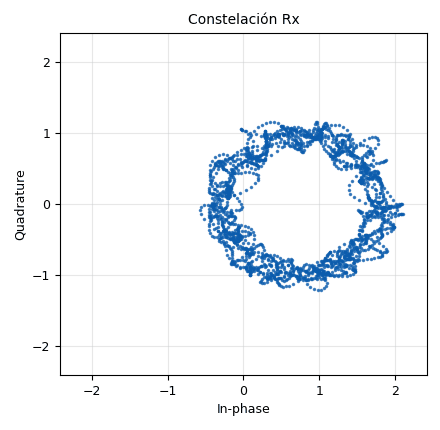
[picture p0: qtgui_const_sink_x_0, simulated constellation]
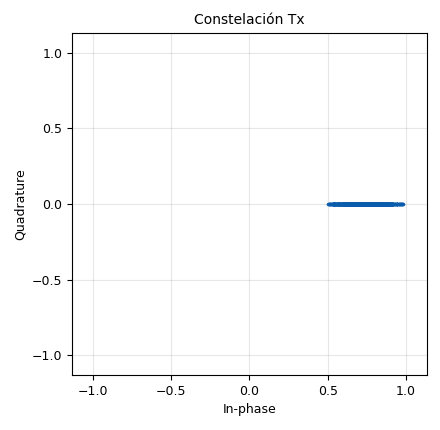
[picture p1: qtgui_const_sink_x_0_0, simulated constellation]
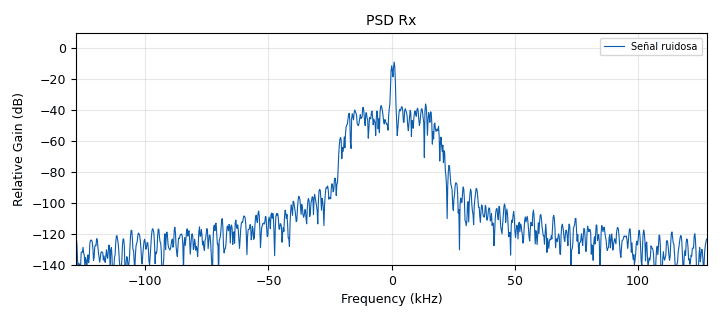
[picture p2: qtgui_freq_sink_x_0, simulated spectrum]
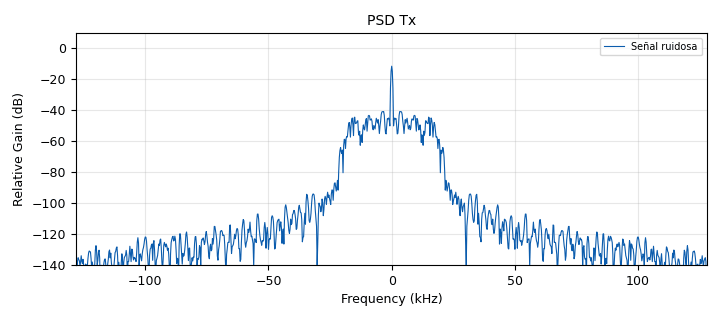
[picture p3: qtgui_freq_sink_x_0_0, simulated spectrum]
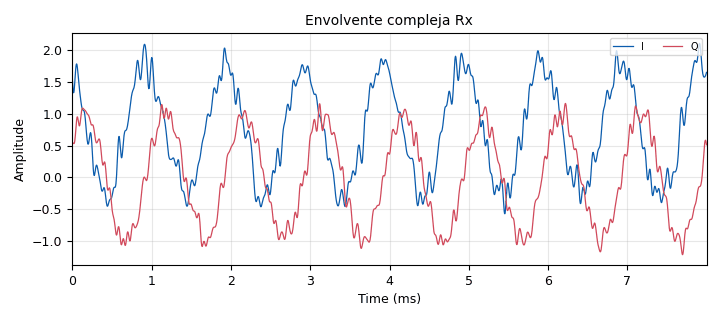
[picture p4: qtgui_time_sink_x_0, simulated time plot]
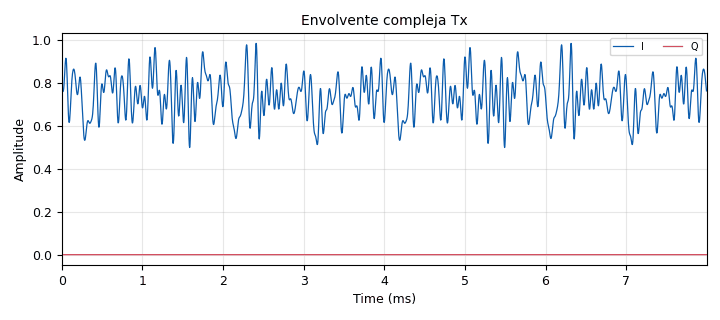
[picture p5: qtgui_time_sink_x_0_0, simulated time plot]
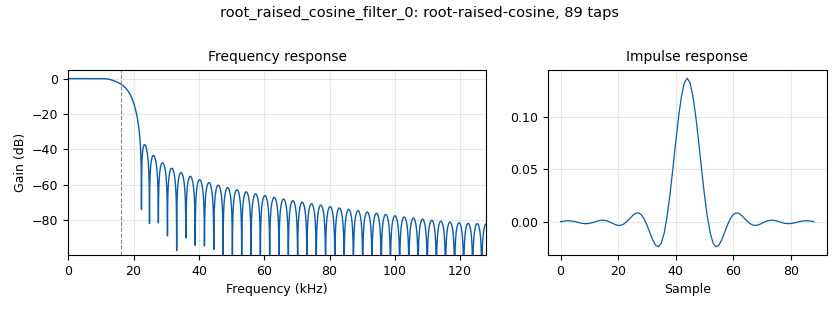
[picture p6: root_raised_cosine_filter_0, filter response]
options:
  parameters:
    comment: GRC para analizar ruido AWGN en modulaciones basadas en constelaciones
    description: GRC con AWGN para OOK ASK BPSK QPSK 8PSK y 16QAM
    generate_options: qt_gui
    id: Modulaciones_basadas_en_constelaciones_AWGN
    output_language: python
    title: Modulaciones_basadas_en_constelaciones_AWGN
  states: {}

blocks:
- name: M
  id: variable
  parameters:
    value: len(tabla_de_verdad_constelacion)
  states: {}
- name: Rb
  id: variable
  parameters:
    value: Rs*bps
  states: {}
- name: Rs
  id: variable
  parameters:
    value: '32000'
  states: {}
- name: Sps
  id: variable
  parameters:
    value: '8'
  states: {}
- name: bps
  id: variable
  parameters:
    value: int(math.log(M,2))
  states: {}
- name: h
  id: variable
  parameters:
    value: '[1]*Sps'
  states: {}
- name: noise_amp
  id: variable_qtgui_range
  parameters:
    label: Amplitud de ruido AWGN
    start: '0'
    step: '0.01'
    stop: '0.5'
    value: '0.40'
  states: {}
- name: samp_rate
  id: variable
  parameters:
    value: Rs*Sps
  states: {}
- name: tabla_de_verdad_constelacion
  id: variable
  parameters:
    comment: Cambie esta tabla para OOK ASK BPSK QPSK 8PSK o 16QAM
    value: (0.5+0j, 1.0+0j)
  states: {}
- name: analog_noise_source_x_0
  id: analog_noise_source_x
  parameters:
    amp: noise_amp
    noise_type: analog.GR_GAUSSIAN
    seed: '0'
    type: complex
  states: {}
- name: analog_random_source_x_0
  id: analog_random_source_x
  parameters:
    max: '2'
    min: '0'
    num_samps: '1000'
    repeat: 'True'
    type: byte
  states: {}
- name: analog_sig_source_x_0
  id: analog_sig_source_x
  parameters:
    amp: '1'
    freq: '1000'
    offset: '0'
    phase: '0'
    samp_rate: samp_rate
    type: complex
    waveform: analog.GR_SIN_WAVE
  states: {}
- name: blocks_add_xx_0
  id: blocks_add_xx
  parameters:
    type: complex
  states: {}
- name: blocks_add_xx_1
  id: blocks_add_xx
  parameters:
    type: complex
  states: {}
- name: blocks_complex_to_mag_0
  id: blocks_complex_to_mag
  parameters: {}
  states: {}
- name: blocks_float_to_uchar_0
  id: blocks_float_to_uchar
  parameters: {}
  states: {}
- name: blocks_pack_k_bits_bb_0
  id: blocks_pack_k_bits_bb
  parameters:
    k: '8'
  states: {}
- name: blocks_packed_to_unpacked_xx_0
  id: blocks_packed_to_unpacked_xx
  parameters:
    bits_per_chunk: bps
    endianness: gr.GR_MSB_FIRST
    type: byte
  states: {}
- name: blocks_threshold_ff_0
  id: blocks_threshold_ff
  parameters:
    high: '0.8'
    init: '0'
    low: '0.6'
  states: {}
- name: digital_chunks_to_symbols_xx_0
  id: digital_chunks_to_symbols_xx
  parameters:
    dimension: '1'
    in_type: byte
    out_type: complex
    symbol_table: tabla_de_verdad_constelacion
  states: {}
- name: fec_ber_bf_0
  id: fec_ber_bf
  parameters:
    test_mode: 'False'
  states: {}
- name: import_0
  id: import
  parameters:
    imports: import math
  states: {}
- name: qtgui_const_sink_x_0
  id: qtgui_const_sink_x
  parameters:
    autoscale: 'True'
    grid: 'True'
    label1: '"Señal ruidosa"'
    legend: 'False'
    name: '"Constelación Rx"'
    size: '2048'
    type: complex
  states: {}
- name: qtgui_const_sink_x_0_0
  id: qtgui_const_sink_x
  parameters:
    autoscale: 'True'
    grid: 'True'
    label1: '"Señal ruidosa"'
    legend: 'False'
    name: '"Constelación Tx"'
    size: '2048'
    type: complex
  states: {}
- name: qtgui_freq_sink_x_0
  id: qtgui_freq_sink_x
  parameters:
    bw: samp_rate
    fc: '0'
    fftsize: '1024'
    grid: 'True'
    label1: Señal ruidosa
    name: '"PSD Rx"'
    type: complex
  states: {}
- name: qtgui_freq_sink_x_0_0
  id: qtgui_freq_sink_x
  parameters:
    bw: samp_rate
    fc: '0'
    fftsize: '1024'
    grid: 'True'
    label1: Señal ruidosa
    name: '"PSD Tx"'
    type: complex
  states: {}
- name: qtgui_number_sink_0
  id: qtgui_number_sink
  parameters:
    autoscale: 'True'
    graph_type: qtgui.NUM_GRAPH_HORIZ
    min: '0'
    name: BER
    type: float
    update_time: '0.1'
  states: {}
- name: qtgui_time_sink_x_0
  id: qtgui_time_sink_x
  parameters:
    autoscale: 'True'
    grid: 'True'
    label1: I
    label2: Q
    name: '"Envolvente compleja Rx"'
    size: '2048'
    srate: samp_rate
    type: complex
    ymax: '2'
    ymin: '-2'
  states: {}
- name: qtgui_time_sink_x_0_0
  id: qtgui_time_sink_x
  parameters:
    autoscale: 'True'
    grid: 'True'
    label1: I
    label2: Q
    name: '"Envolvente compleja Tx"'
    size: '2048'
    srate: samp_rate
    type: complex
    ymax: '2'
    ymin: '-2'
  states: {}
- name: root_raised_cosine_filter_0
  id: root_raised_cosine_filter
  parameters:
    alpha: '0.35'
    decim: '1'
    gain: '1'
    ntaps: 11*Sps
    samp_rate: samp_rate
    sym_rate: Rs
    type: fir_filter_ccf
  states: {}
- name: root_raised_cosine_filter_0_0
  id: root_raised_cosine_filter
  parameters:
    alpha: '0.35'
    decim: '1'
    gain: '1'
    ntaps: 11*Sps
    samp_rate: samp_rate
    sym_rate: Rs
    type: fir_filter_ccf
  states: {}
- name: throttle_0
  id: blocks_throttle2
  parameters:
    samples_per_second: samp_rate
    type: complex
  states: {}

connections:
- [analog_noise_source_x_0, '0', blocks_add_xx_1, '1']
- [analog_random_source_x_0, '0', blocks_pack_k_bits_bb_0, '0']
- [analog_sig_source_x_0, '0', blocks_add_xx_0, '1']
- [blocks_add_xx_0, '0', root_raised_cosine_filter_0_0, '0']
- [blocks_add_xx_1, '0', blocks_add_xx_0, '0']
- [blocks_complex_to_mag_0, '0', blocks_threshold_ff_0, '0']
- [blocks_float_to_uchar_0, '0', fec_ber_bf_0, '1']
- [blocks_pack_k_bits_bb_0, '0', blocks_packed_to_unpacked_xx_0, '0']
- [blocks_packed_to_unpacked_xx_0, '0', digital_chunks_to_symbols_xx_0, '0']
- [blocks_packed_to_unpacked_xx_0, '0', fec_ber_bf_0, '0']
- [blocks_threshold_ff_0, '0', blocks_float_to_uchar_0, '0']
- [digital_chunks_to_symbols_xx_0, '0', root_raised_cosine_filter_0, '0']
- [fec_ber_bf_0, '0', qtgui_number_sink_0, '0']
- [root_raised_cosine_filter_0, '0', qtgui_const_sink_x_0_0, '0']
- [root_raised_cosine_filter_0, '0', qtgui_freq_sink_x_0_0, '0']
- [root_raised_cosine_filter_0, '0', qtgui_time_sink_x_0_0, '0']
- [root_raised_cosine_filter_0, '0', throttle_0, '0']
- [root_raised_cosine_filter_0_0, '0', blocks_complex_to_mag_0, '0']
- [root_raised_cosine_filter_0_0, '0', qtgui_const_sink_x_0, '0']
- [root_raised_cosine_filter_0_0, '0', qtgui_freq_sink_x_0, '0']
- [root_raised_cosine_filter_0_0, '0', qtgui_time_sink_x_0, '0']
- [throttle_0, '0', blocks_add_xx_1, '0']

metadata:
  file_format: 1
  grc_version: 3.10.9.2
